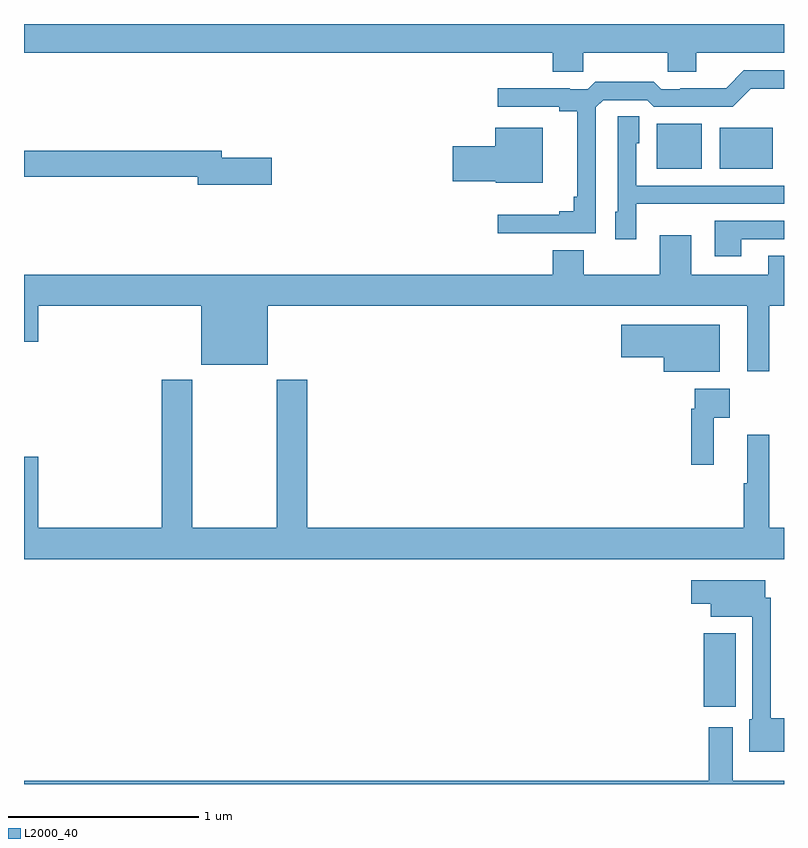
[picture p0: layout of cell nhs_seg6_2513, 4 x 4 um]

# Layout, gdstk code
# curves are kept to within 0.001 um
import gdstk
lib = gdstk.Library(unit=1e-6, precision=1e-09)
def R(c, l, rs):  # rectangles x0, y0, x1, y1
    for r in rs: c.add(gdstk.rectangle(r[:2], r[2:], *l))
def P(c, l, *ps):  # polygons
    for p in ps: c.add(gdstk.Polygon(p, *l))
L2000_40 = (2000, 40)

nhs_seg6_2513 = lib.new_cell('nhs_seg6_2513')
R(nhs_seg6_2513, L2000_40, [(264.578,931.907,264.745,932.293), (264.329,934.739,264.568,934.975), (264.662,934.739,264.94,934.954)])
P(nhs_seg6_2513, L2000_40, [(263.943,935.348),(264.388,935.348),(264.388,935.25),(264.538,935.25),(264.538,935.348),(265,935.348),(265,935.5),(261,935.5),(261,935.348),(263.783,935.348),(263.783,935.25),(263.943,935.25)],
  [(264.009,935.061),(264.048,935.1),(264.279,935.1),(264.315,935.064),(264.729,935.064),(264.824,935.159),(265,935.16),(265,935.256),(264.789,935.256),(264.695,935.162),(264.454,935.162),(264.454,935.157),(264.354,935.157),(264.315,935.197),(264.007,935.197),(263.967,935.157),(263.873,935.157),(263.873,935.162),(263.493,935.162),(263.493,935.064),(263.816,935.064),(263.816,935.042),(263.912,935.042),(263.912,934.591),(263.893,934.591),(263.893,934.514),(263.816,934.514),(263.816,934.495),(263.493,934.495),(263.493,934.398),(264.009,934.398)],
  [(264.222,934.553),(264.539,934.553),(264.539,934.554),(265,934.554),(265,934.65),(264.222,934.65),(264.222,934.872),(264.238,934.872),(264.238,935.015),(264.126,935.015),(264.126,934.512),(264.113,934.512),(264.113,934.368),(264.222,934.368)],
  [(263.731,934.954),(263.48,934.954),(263.48,934.856),(263.256,934.856),(263.256,934.673),(263.484,934.673),(263.484,934.664),(263.731,934.664)],
  [(262.303,934.796),(262.042,934.796),(262.042,934.832),(261,934.832),(261,934.696),(261.914,934.696),(261.914,934.654),(262.303,934.654)],
  [(264.775,934.368),(265,934.368),(265,934.464),(264.635,934.464),(264.635,934.278),(264.775,934.278)],
  [(264.923,934.016),(265,934.016),(265,934.279),(264.917,934.279),(264.917,934.18),(264.511,934.18),(264.511,934.387),(264.347,934.387),(264.347,934.18),(263.947,934.18),(263.947,934.309),(263.783,934.309),(263.783,934.18),(261,934.18),(261,933.828),(261.076,933.828),(261.076,934.016),(261.932,934.016),(261.932,933.707),(262.282,933.707),(262.282,934.016),(264.806,934.016),(264.806,933.672),(264.923,933.672)],
  [(264.661,933.916),(264.144,933.916),(264.144,933.746),(264.368,933.746),(264.368,933.671),(264.661,933.671)],
  [(265,932.848),(264.923,932.848),(264.923,933.337),(264.806,933.337),(264.806,933.084),(264.787,933.084),(264.787,932.848),(262.49,932.848),(262.49,933.628),(262.33,933.628),(262.33,932.848),(261.885,932.848),(261.885,933.628),(261.725,933.628),(261.725,932.848),(261.076,932.848),(261.076,933.223),(261,933.223),(261,932.684),(265,932.684)],
  [(264.629,933.428),(264.715,933.428),(264.715,933.58),(264.531,933.58),(264.531,933.476),(264.511,933.476),(264.511,933.18),(264.629,933.18)],
  [(265,931.846),(264.93,931.846),(264.93,932.479),(264.901,932.479),(264.901,932.572),(264.513,932.572),(264.513,932.45),(264.614,932.45),(264.614,932.381),(264.834,932.381),(264.834,931.842),(264.818,931.842),(264.818,931.67),(265,931.67)],
  [(265,931.516),(264.73,931.516),(264.73,931.798),(264.605,931.798),(264.605,931.516),(261,931.516),(261,931.5),(265,931.5)])

lib.write_gds('nhs_seg6_2513.gds')
